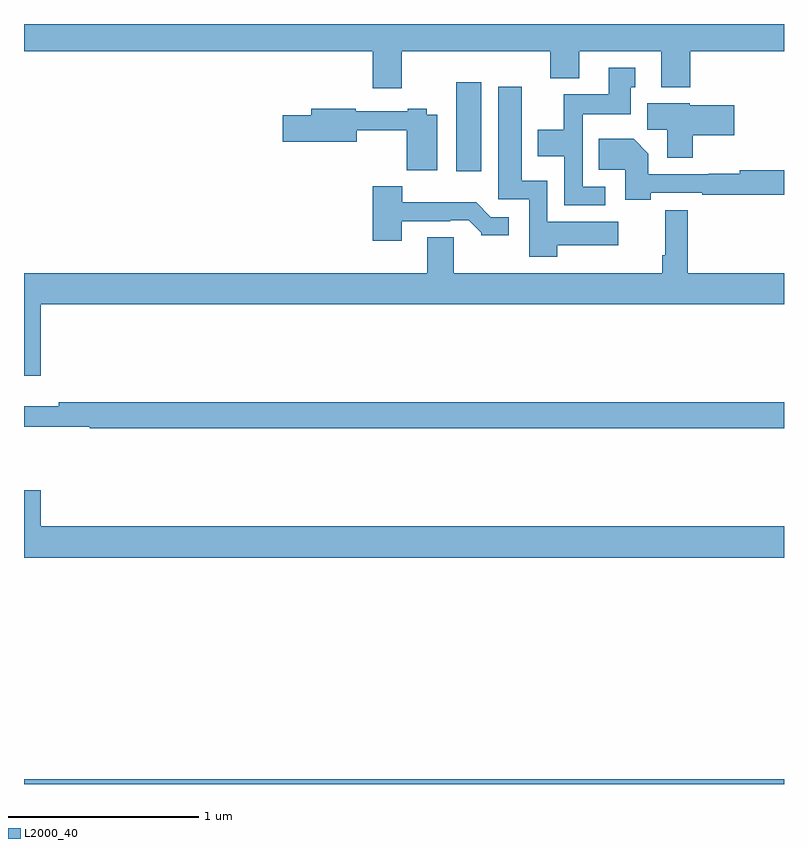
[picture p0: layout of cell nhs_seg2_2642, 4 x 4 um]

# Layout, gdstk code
import gdstk
lib = gdstk.Library(unit=1e-6, precision=1e-09)
def R(c, l, rs):  # rectangles x0, y0, x1, y1
    for r in rs: c.add(gdstk.rectangle(r[:2], r[2:], *l))
def P(c, l, *ps):  # polygons
    for p in ps: c.add(gdstk.Polygon(p, *l))
L2000_40 = (2000, 40)

nhs_seg2_2642 = lib.new_cell('nhs_seg2_2642')
R(nhs_seg2_2642, L2000_40, [(249,623.8,253,623.824), (251.276,627.024,251.407,627.493)])
P(nhs_seg2_2642, L2000_40, [(250.987,627.656),(251.771,627.656),(251.771,627.515),(251.923,627.515),(251.923,627.656),(252.353,627.656),(252.353,627.467),(252.506,627.467),(252.506,627.656),(253,627.656),(253,627.8),(249,627.8),(249,627.656),(250.835,627.656),(250.835,627.462),(250.987,627.462)],
  [(252.058,626.943),(251.94,626.943),(251.94,627.326),(252.193,627.326),(252.193,627.468),(252.217,627.468),(252.217,627.571),(252.077,627.571),(252.077,627.43),(251.842,627.43),(251.842,627.244),(251.705,627.244),(251.705,627.104),(251.844,627.104),(251.844,626.847),(252.058,626.847)],
  [(251.807,626.636),(252.127,626.636),(252.127,626.758),(251.754,626.758),(251.754,626.974),(251.62,626.974),(251.62,627.469),(251.495,627.469),(251.495,626.877),(251.658,626.877),(251.658,626.574),(251.807,626.574)],
  [(252.521,627.215),(252.739,627.215),(252.739,627.373),(252.504,627.373),(252.504,627.382),(252.281,627.382),(252.281,627.244),(252.386,627.244),(252.386,627.096),(252.521,627.096)],
  [(251.176,627.322),(251.121,627.322),(251.121,627.355),(251.021,627.355),(251.021,627.342),(250.746,627.342),(250.746,627.355),(250.511,627.355),(250.511,627.321),(250.362,627.321),(250.362,627.179),(250.75,627.179),(250.75,627.241),(251.014,627.241),(251.014,627.029),(251.176,627.029)],
  [(252.299,626.913),(252.571,626.913),(252.571,626.901),(253,626.901),(253,627.029),(252.768,627.029),(252.768,627.011),(252.604,627.011),(252.604,627.009),(252.286,627.009),(252.286,627.118),(252.208,627.196),(252.025,627.196),(252.025,627.032),(252.164,627.032),(252.164,626.875),(252.299,626.875)],
  [(250.987,626.763),(251.243,626.763),(251.243,626.766),(251.342,626.766),(251.406,626.702),(251.406,626.687),(251.551,626.687),(251.551,626.784),(251.457,626.784),(251.379,626.863),(250.99,626.863),(250.99,626.947),(250.835,626.947),(250.835,626.658),(250.987,626.658)],
  [(249.088,626.324),(253,626.324),(253,626.488),(252.494,626.488),(252.494,626.821),(252.376,626.821),(252.376,626.584),(252.358,626.584),(252.358,626.488),(251.263,626.488),(251.263,626.678),(251.123,626.678),(251.123,626.488),(249,626.488),(249,625.95),(249.088,625.95)],
  [(253,625.808),(249.184,625.808),(249.184,625.789),(249,625.789),(249,625.68),(249.345,625.68),(249.345,625.672),(253,625.672)],
  [(253,625.156),(249.088,625.156),(249.088,625.345),(249,625.345),(249,624.992),(253,624.992)])

lib.write_gds('nhs_seg2_2642.gds')
